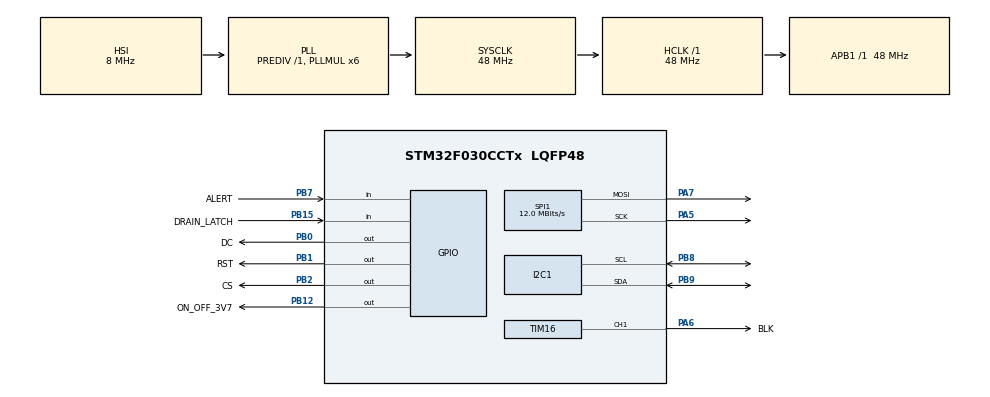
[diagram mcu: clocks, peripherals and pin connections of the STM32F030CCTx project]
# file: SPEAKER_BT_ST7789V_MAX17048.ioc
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Mcu.Family=STM32F0
Mcu.Name=STM32F030CCTx
Mcu.Package=LQFP48
PA0.Mode=SYS_WakeUp0
PA0.Signal=SYS_WKUP1
PA13.Mode=Serial_Wire
PA13.Signal=SYS_SWDIO
PA14.Mode=Serial_Wire
PA14.Signal=SYS_SWCLK
PA5.Mode=TX_Only_Simplex_Unidirect_Master
PA5.Signal=SPI1_SCK
PA6.GPIO_Label=BLK
PA6.Signal=S_TIM16_CH1
PA7.Mode=TX_Only_Simplex_Unidirect_Master
PA7.Signal=SPI1_MOSI
PB0.GPIO_Label=DC
PB0.GPIO_Speed=GPIO_SPEED_FREQ_HIGH
PB0.Signal=GPIO_Output
PB1.GPIO_Label=RST
PB1.GPIO_Speed=GPIO_SPEED_FREQ_HIGH
PB1.Signal=GPIO_Output
PB12.GPIO_Label=ON_OFF_3V7
PB12.Signal=GPIO_Output
PB15.GPIO_Label=DRAIN_LATCH
PB15.Signal=GPIO_Input
PB2.GPIO_Label=CS
PB2.GPIO_Speed=GPIO_SPEED_FREQ_HIGH
PB2.PinState=GPIO_PIN_SET
PB2.Signal=GPIO_Output
PB7.GPIO_Label=ALERT
PB7.Signal=GPIO_Input
PB8.Mode=I2C
PB8.Signal=I2C1_SCL
PB9.Mode=I2C
PB9.Signal=I2C1_SDA
PC13.Mode=SYS_WakeUp1
PC13.Signal=SYS_WKUP2
ProjectManager.HeapSize=0x200
ProjectManager.StackSize=0x400
ProjectManager.TargetToolchain=STM32CubeIDE
RCC.AHBFreq_Value=48000000
RCC.APB1Freq_Value=48000000
RCC.APB1TimFreq_Value=48000000
RCC.HCLKFreq_Value=48000000
RCC.PLLMUL=RCC_PLL_MUL6
RCC.SYSCLKFreq_VALUE=48000000
RCC.SYSCLKSource=RCC_SYSCLKSOURCE_PLLCLK
SH.S_TIM16_CH1.0=TIM16_CH1,PWM Generation1 CH1
SPI1.BaudRatePrescaler=SPI_BAUDRATEPRESCALER_4
SPI1.CLKPhase=SPI_PHASE_2EDGE
SPI1.CLKPolarity=SPI_POLARITY_HIGH
SPI1.CalculateBaudRate=12.0 MBits/s
SPI1.DataSize=SPI_DATASIZE_8BIT
SPI1.Direction=SPI_DIRECTION_2LINES
SPI1.Mode=SPI_MODE_MASTER
SPI1.VirtualType=VM_MASTER
TIM16.Channel=TIM_CHANNEL_1
TIM16.Period=65535
TIM16.Prescaler=48-1
VP_TIM16_VS_ClockSourceINT.Mode=Enable_Timer
board=custom

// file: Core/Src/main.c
/* USER CODE BEGIN Header */
/**
  ******************************************************************************
  * @file           : main.c
  * @brief          : Main program body
  ******************************************************************************
  * @attention
  *
  * Copyright (c) 2024 STMicroelectronics.
  * All rights reserved.
  *
  * This software is licensed under terms that can be found in the LICENSE file
  * in the root directory of this software component.
  * If no LICENSE file comes with this software, it is provided AS-IS.
  *
  ******************************************************************************
  */
/* USER CODE END Header */
#include "main.h"

/* USER CODE BEGIN Includes */
#include "stdio.h"
#include "Anglas_ST7789.h"
#include "fonts.h"
#include "math.h"
#include "bitmap.h"

#include "Anglas_MAX17048.h"

/* USER CODE END Includes */

I2C_HandleTypeDef hi2c1;

SPI_HandleTypeDef hspi1;

TIM_HandleTypeDef htim16;

/* USER CODE BEGIN PV */

float soc,voltage;
char buff[32];
uint16_t freq_BLK = 5000;//5khz

/* USER CODE END PV */

void SystemClock_Config(void);
static void MX_GPIO_Init(void);
static void MX_I2C1_Init(void);
static void MX_SPI1_Init(void);
static void MX_TIM16_Init(void);
/* USER CODE BEGIN PFP */
void control_BTN1(void);
void PWM_set_Freq_DutyCycle(uint16_t freq, uint8_t duty);
/* USER CODE END PFP */

int main(void)
{

  /* MCU Configuration--------------------------------------------------------*/

  /* Reset of all peripherals, Initializes the Flash interface and the Systick. */
  HAL_Init();

  /* Configure the system clock */
  SystemClock_Config();

  /* Initialize all configured peripherals */
  MX_GPIO_Init();
  MX_I2C1_Init();
  MX_SPI1_Init();
  MX_TIM16_Init();
  /* USER CODE BEGIN 2 */

  /******************** PARA USAR LOS DOS SYS_WKUP **********************************/

  // Verifica si el sistema reanudó desde Standby Mode
  if (__HAL_PWR_GET_FLAG(PWR_FLAG_SB) != RESET) {
      __HAL_PWR_CLEAR_FLAG(PWR_FLAG_SB); // Limpia la bandera

      //Esto hace cuando se presiona el pulsador del SYS_WKUP1
      if (HAL_GPIO_ReadPin(GPIOA, GPIO_PIN_0) == 1) {//FUNCION 1
    	  //AQUI TODO EL CODIGO DE LA FUNCION 1
    	  if (HAL_GPIO_ReadPin(DRAIN_LATCH_GPIO_Port, DRAIN_LATCH_Pin) == 0){
    		  HAL_GPIO_WritePin(ON_OFF_3V7_GPIO_Port, ON_OFF_3V7_Pin, 1);//Encender parlante
			  HAL_Delay(4000);//tiempo para apagar luego de encender o viceversa
    	  }else{
    		  HAL_GPIO_WritePin(ON_OFF_3V7_GPIO_Port, ON_OFF_3V7_Pin, 0);//Apagar parlante
			  MAX17048_SetAlertThreshold(1);//al colocar pone a 0 el pin alert y esto hace que consuma unos mA menos
			  HAL_Delay(4000);//tiempo para apagar luego de encender o viceversa

    	  }

      }

      //Esto hace cuando se presiona el pulsador del SYS_WKUP2
      if (HAL_GPIO_ReadPin(GPIOC, GPIO_PIN_13) == 1) {//FUNCION 2
    	  //verifica si esta encendido lo mantiene asi y si esta apagado lo mantiene apagado
    	  if (HAL_GPIO_ReadPin(DRAIN_LATCH_GPIO_Port, DRAIN_LATCH_Pin) == 0){
    		  HAL_GPIO_WritePin(ON_OFF_3V7_GPIO_Port, ON_OFF_3V7_Pin, 0);
    	  }else{
    		  HAL_GPIO_WritePin(ON_OFF_3V7_GPIO_Port, ON_OFF_3V7_Pin, 1);
    	  }

    	  PWM_set_Freq_DutyCycle(freq_BLK,0);//iniciar pantalla negra
    	  ST7789_Init();
    	  ST7789_rotation(2);
    	  PWM_set_Freq_DutyCycle(freq_BLK,100);
    	  ST7789_DrawImage(0, 0, 240, 135, img2);

    	  MAX17048_Init();
    	  MAX17048_QuickStart();
    	  MAX17048_SetAlertThreshold(1);
    	  HAL_Delay(5);
    	  voltage = MAX17048_GetVoltage();
    	  sprintf(buff,"VOLTAGE: %1.2fV",voltage);
    	  ST7789_print(40, 50, RGB565(0, 255, 0) , RGB565(0, 0, 0) , 1, &Font_11x18, 1, buff);

    	  soc = MAX17048_GetSoc();
    	  sprintf(buff,"%3i%%",(uint8_t)soc);
    	  ST7789_print(140, 5, RGB565(0, 0, 255) , RGB565(255, 255, 255) , 1, &Font_16x28, 1, buff);
    	  HAL_Delay(4000);
    	  PWM_set_Freq_DutyCycle(freq_BLK,0);//iniciar pantalla negra
    	  HAL_TIM_PWM_Stop(&htim16, TIM_CHANNEL_1);
    	  ST7789_SleepModeEnter();
      }

      HAL_PWR_DisableWakeUpPin(PWR_WAKEUP_PIN1);// Desactiva el Wake-Up Pin1
      HAL_PWR_DisableWakeUpPin(PWR_WAKEUP_PIN2);// Desactiva el Wake-Up Pin2
  }

    __HAL_PWR_CLEAR_FLAG(PWR_FLAG_WU);//AHORA RECIEN VAMOS A INGRESAR AL STANDBY MODE
    HAL_PWR_EnableWakeUpPin(PWR_WAKEUP_PIN1);//habilitamos el Wake-Up Pin1
    HAL_PWR_EnableWakeUpPin(PWR_WAKEUP_PIN2);//habilitamos el Wake-Up Pin2
    HAL_PWR_EnterSTANDBYMode();//FINALMENTE INGRESAMOS AL STANDBY MODE

  /********************************************/

  /* USER CODE END 2 */

  /* Infinite loop */
  /* USER CODE BEGIN WHILE */
  while (1)
  {

	  //voltage = MAX17048_GetVoltage();
	  //sprintf(buff,"VOLTAGE: %1.2fV",voltage);
	  //ST7789_print(40, 20, RGB565(0, 255, 0) , RGB565(0, 0, 0) , 1, &Font_11x18, 1, buff);

    /* USER CODE END WHILE */

  }
}

void SystemClock_Config(void)
{
  RCC_OscInitTypeDef RCC_OscInitStruct = {0};
  RCC_ClkInitTypeDef RCC_ClkInitStruct = {0};
  RCC_PeriphCLKInitTypeDef PeriphClkInit = {0};

  /** Initializes the RCC Oscillators according to the specified parameters
  * in the RCC_OscInitTypeDef structure.
  */
  RCC_OscInitStruct.OscillatorType = RCC_OSCILLATORTYPE_HSI;
  RCC_OscInitStruct.HSIState = RCC_HSI_ON;
  RCC_OscInitStruct.HSICalibrationValue = RCC_HSICALIBRATION_DEFAULT;
  RCC_OscInitStruct.PLL.PLLState = RCC_PLL_ON;
  RCC_OscInitStruct.PLL.PLLSource = RCC_PLLSOURCE_HSI;
  RCC_OscInitStruct.PLL.PLLMUL = RCC_PLL_MUL6;
  RCC_OscInitStruct.PLL.PREDIV = RCC_PREDIV_DIV1;
  if (HAL_RCC_OscConfig(&RCC_OscInitStruct) != HAL_OK)
  {
    Error_Handler();
  }

  /** Initializes the CPU, AHB and APB buses clocks
  */
  RCC_ClkInitStruct.ClockType = RCC_CLOCKTYPE_HCLK|RCC_CLOCKTYPE_SYSCLK
                              |RCC_CLOCKTYPE_PCLK1;
  RCC_ClkInitStruct.SYSCLKSource = RCC_SYSCLKSOURCE_PLLCLK;
  RCC_ClkInitStruct.AHBCLKDivider = RCC_SYSCLK_DIV1;
  RCC_ClkInitStruct.APB1CLKDivider = RCC_HCLK_DIV1;

  if (HAL_RCC_ClockConfig(&RCC_ClkInitStruct, FLASH_LATENCY_1) != HAL_OK)
  {
    Error_Handler();
  }
  PeriphClkInit.PeriphClockSelection = RCC_PERIPHCLK_I2C1;
  PeriphClkInit.I2c1ClockSelection = RCC_I2C1CLKSOURCE_HSI;
  if (HAL_RCCEx_PeriphCLKConfig(&PeriphClkInit) != HAL_OK)
  {
    Error_Handler();
  }
}

static void MX_I2C1_Init(void)
{

  hi2c1.Instance = I2C1;
  hi2c1.Init.Timing = 0x2000090E;
  hi2c1.Init.OwnAddress1 = 0;
  hi2c1.Init.AddressingMode = I2C_ADDRESSINGMODE_7BIT;
  hi2c1.Init.DualAddressMode = I2C_DUALADDRESS_DISABLE;
  hi2c1.Init.OwnAddress2 = 0;
  hi2c1.Init.OwnAddress2Masks = I2C_OA2_NOMASK;
  hi2c1.Init.GeneralCallMode = I2C_GENERALCALL_DISABLE;
  hi2c1.Init.NoStretchMode = I2C_NOSTRETCH_DISABLE;
  if (HAL_I2C_Init(&hi2c1) != HAL_OK)
  {
    Error_Handler();
  }

  /** Configure Analogue filter
  */
  if (HAL_I2CEx_ConfigAnalogFilter(&hi2c1, I2C_ANALOGFILTER_ENABLE) != HAL_OK)
  {
    Error_Handler();
  }

  /** Configure Digital filter
  */
  if (HAL_I2CEx_ConfigDigitalFilter(&hi2c1, 0) != HAL_OK)
  {
    Error_Handler();
  }

}

static void MX_SPI1_Init(void)
{

  /* SPI1 parameter configuration*/
  hspi1.Instance = SPI1;
  hspi1.Init.Mode = SPI_MODE_MASTER;
  hspi1.Init.Direction = SPI_DIRECTION_2LINES;
  hspi1.Init.DataSize = SPI_DATASIZE_8BIT;
  hspi1.Init.CLKPolarity = SPI_POLARITY_HIGH;
  hspi1.Init.CLKPhase = SPI_PHASE_2EDGE;
  hspi1.Init.NSS = SPI_NSS_SOFT;
  hspi1.Init.BaudRatePrescaler = SPI_BAUDRATEPRESCALER_4;
  hspi1.Init.FirstBit = SPI_FIRSTBIT_MSB;
  hspi1.Init.TIMode = SPI_TIMODE_DISABLE;
  hspi1.Init.CRCCalculation = SPI_CRCCALCULATION_DISABLE;
  hspi1.Init.CRCPolynomial = 7;
  hspi1.Init.CRCLength = SPI_CRC_LENGTH_DATASIZE;
  hspi1.Init.NSSPMode = SPI_NSS_PULSE_DISABLE;
  if (HAL_SPI_Init(&hspi1) != HAL_OK)
  {
    Error_Handler();
  }

}

static void MX_TIM16_Init(void)
{

  TIM_OC_InitTypeDef sConfigOC = {0};
  TIM_BreakDeadTimeConfigTypeDef sBreakDeadTimeConfig = {0};

  htim16.Instance = TIM16;
  htim16.Init.Prescaler = 48-1;
  htim16.Init.CounterMode = TIM_COUNTERMODE_UP;
  htim16.Init.Period = 65535;
  htim16.Init.ClockDivision = TIM_CLOCKDIVISION_DIV1;
  htim16.Init.RepetitionCounter = 0;
  htim16.Init.AutoReloadPreload = TIM_AUTORELOAD_PRELOAD_DISABLE;
  if (HAL_TIM_Base_Init(&htim16) != HAL_OK)
  {
    Error_Handler();
  }
  if (HAL_TIM_PWM_Init(&htim16) != HAL_OK)
  {
    Error_Handler();
  }
  sConfigOC.OCMode = TIM_OCMODE_PWM1;
  sConfigOC.Pulse = 0;
  sConfigOC.OCPolarity = TIM_OCPOLARITY_HIGH;
  sConfigOC.OCNPolarity = TIM_OCNPOLARITY_HIGH;
  sConfigOC.OCFastMode = TIM_OCFAST_DISABLE;
  sConfigOC.OCIdleState = TIM_OCIDLESTATE_RESET;
  sConfigOC.OCNIdleState = TIM_OCNIDLESTATE_RESET;
  if (HAL_TIM_PWM_ConfigChannel(&htim16, &sConfigOC, TIM_CHANNEL_1) != HAL_OK)
  {
    Error_Handler();
  }
  sBreakDeadTimeConfig.OffStateRunMode = TIM_OSSR_DISABLE;
  sBreakDeadTimeConfig.OffStateIDLEMode = TIM_OSSI_DISABLE;
  sBreakDeadTimeConfig.LockLevel = TIM_LOCKLEVEL_OFF;
  sBreakDeadTimeConfig.DeadTime = 0;
  sBreakDeadTimeConfig.BreakState = TIM_BREAK_DISABLE;
  sBreakDeadTimeConfig.BreakPolarity = TIM_BREAKPOLARITY_HIGH;
  sBreakDeadTimeConfig.AutomaticOutput = TIM_AUTOMATICOUTPUT_DISABLE;
  if (HAL_TIMEx_ConfigBreakDeadTime(&htim16, &sBreakDeadTimeConfig) != HAL_OK)
  {
    Error_Handler();
  }
  HAL_TIM_MspPostInit(&htim16);

}

static void MX_GPIO_Init(void)
{
  GPIO_InitTypeDef GPIO_InitStruct = {0};

  /* GPIO Ports Clock Enable */
  __HAL_RCC_GPIOC_CLK_ENABLE();
  __HAL_RCC_GPIOA_CLK_ENABLE();
  __HAL_RCC_GPIOB_CLK_ENABLE();

  /*Configure GPIO pin Output Level */
  HAL_GPIO_WritePin(GPIOB, DC_Pin|RST_Pin|ON_OFF_3V7_Pin, GPIO_PIN_RESET);

  /*Configure GPIO pin Output Level */
  HAL_GPIO_WritePin(CS_GPIO_Port, CS_Pin, GPIO_PIN_SET);

  /*Configure GPIO pins : DC_Pin RST_Pin CS_Pin */
  GPIO_InitStruct.Pin = DC_Pin|RST_Pin|CS_Pin;
  GPIO_InitStruct.Mode = GPIO_MODE_OUTPUT_PP;
  GPIO_InitStruct.Pull = GPIO_NOPULL;
  GPIO_InitStruct.Speed = GPIO_SPEED_FREQ_HIGH;
  HAL_GPIO_Init(GPIOB, &GPIO_InitStruct);

  /*Configure GPIO pin : ON_OFF_3V7_Pin */
  GPIO_InitStruct.Pin = ON_OFF_3V7_Pin;
  GPIO_InitStruct.Mode = GPIO_MODE_OUTPUT_PP;
  GPIO_InitStruct.Pull = GPIO_NOPULL;
  GPIO_InitStruct.Speed = GPIO_SPEED_FREQ_LOW;
  HAL_GPIO_Init(ON_OFF_3V7_GPIO_Port, &GPIO_InitStruct);

  /*Configure GPIO pins : DRAIN_LATCH_Pin ALERT_Pin */
  GPIO_InitStruct.Pin = DRAIN_LATCH_Pin|ALERT_Pin;
  GPIO_InitStruct.Mode = GPIO_MODE_INPUT;
  GPIO_InitStruct.Pull = GPIO_NOPULL;
  HAL_GPIO_Init(GPIOB, &GPIO_InitStruct);

}

/* USER CODE BEGIN 4 */

/*
void control_BTN1(void){
    //Mantener presionado el SW2 por cierto tiempo, para encender o apagar el XL6019
    if(HAL_GPIO_ReadPin(BTN1_GPIO_Port, BTN1_Pin) == 1){//RESISTENCIA PULL DOWN EXTERNA
  	  contBTN1++;
  	  if(contBTN1>300000){// 1.5seg aprox
  		contBTN1=0;
  		powerSupply++;
  	  }
    }

    //Garantiza que el contSW2 siempre inicie de 0
    if(HAL_GPIO_ReadPin(BTN1_GPIO_Port, BTN1_Pin) == 0 && contBTN1>0){contBTN1=0;}

    //Salida de voltaje de XL6019 ON
    if(powerSupply==1){
  	  powerSupply=2;
  	  estado=1;
  	  //HAL_GPIO_WritePin(EN_3V7_GPIO_Port, EN_3V7_Pin, RESET);
  	  HAL_GPIO_WritePin(LED_GPIO_Port, LED_Pin, SET);
    }

    //Salida de voltaje de XL6019 OFF
    if(powerSupply==3){
  	  powerSupply=0;
  	  estado=0;
  	  //HAL_GPIO_WritePin(EN_3V7_GPIO_Port, EN_3V7_Pin, SET);
  	  HAL_GPIO_WritePin(LED_GPIO_Port, LED_Pin, RESET);
    }
}
*/

void PWM_set_Freq_DutyCycle(uint16_t freq, uint8_t duty){
	/*
	 * La frecuencia a la que opera el uC es de 48000000Hz
	 *
	 * El prescaler PSC-16bits divide a esta frecuencia
	 * 48000000/48 = 1000000Hz = 1Mhz
	 *
	 * El CounterPeriod solo es un contador de 0 - 65535 y cuando lo establecemos en un valor digamos 10000
	 * entonces va contar de 0  a 10000 y luego se desbordara es decir reiniciara y empezara de cero otra vez hasta 10000
	 * Ahora el CounterPeriod sirve para cambiar el periodo y con esto la frecuencia T = 1 / freq
	 * 		__HAL_TIM_GET_AUTORELOAD(&htim16): Esta función devuelve el valor actual del registro ARR (Auto-Reload Register)
	 * 		del temporizador, que representa el Counter Period.
	 * */
	uint16_t valor_CCR;
	uint32_t CounterPeriod;//en microsegundos
	uint32_t freqOsc = HAL_RCC_GetHCLKFreq();//obtiene la frecuencia del OSC en Hz (48000000)
	uint16_t prescaler = 48;//PSC-16bits

	if(duty > 100) duty = 100;
	CounterPeriod = freqOsc/(freq*prescaler);//aqui nos da el periodo en microsegundos
	//y este periodo(CounterPeriod) necesita la funcion __HAL_TIM_SET_AUTORELOAD

    HAL_TIM_PWM_Start(&htim16, TIM_CHANNEL_1);//inicia la generacion de la señal PWM
    //modificamos el valor del CounterPeriod y con esto modificamos la frecuencia de salida
	__HAL_TIM_SET_AUTORELOAD(&htim16,CounterPeriod);//Si quiero cambiar la frecuencia modifico: __HAL_TIM_SET_AUTORELOAD(&htim16, 1000000/frecuencia que quiero) 1000000porque es microsegundos
	//CounterPeriod = __HAL_TIM_GET_AUTORELOAD(&htim16)
	//visto con un analizador logico en un 50% de duty me da 49.5% y cuando le sumo 2 me da 50.05%
	valor_CCR = (CounterPeriod + 2)* duty/100.0;//divido entre 100 porque quiero de 0 a 100%, cambiar el rango si se desea
    __HAL_TIM_SET_COMPARE(&htim16, TIM_CHANNEL_1, valor_CCR);
    //HAL_Delay(500);
    //HAL_TIM_PWM_Stop(&htim16, TIM_CHANNEL_1);//aqui detengo la generacion del PWM, pero para mi caso necesito que siempre ete activado
}

/* USER CODE END 4 */

void Error_Handler(void)
{
  __disable_irq();
  while (1)
  {
  }
}
